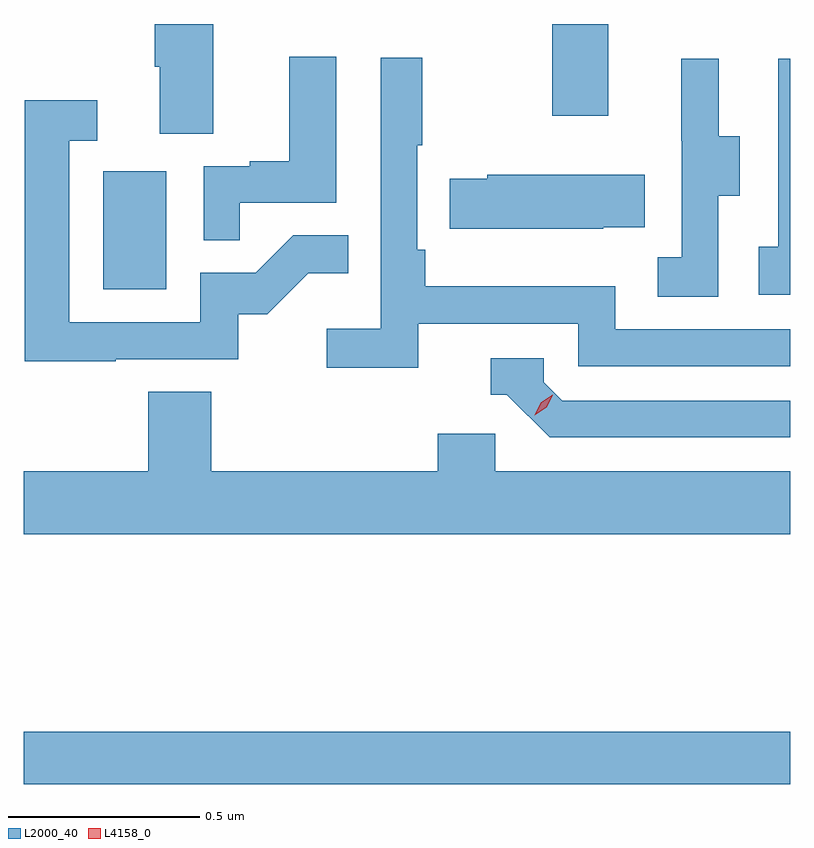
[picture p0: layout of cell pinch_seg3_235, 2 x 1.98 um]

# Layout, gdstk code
import gdstk
lib = gdstk.Library(unit=1e-6, precision=1e-09)
def R(c, l, rs):  # rectangles x0, y0, x1, y1
    for r in rs: c.add(gdstk.rectangle(r[:2], r[2:], *l))
def P(c, l, *ps):  # polygons
    for p in ps: c.add(gdstk.Polygon(p, *l))
L2000_40 = (2000, 40)
L4158_0 = (4158, 0)

pinch_seg3_235 = lib.new_cell('pinch_seg3_235')
R(pinch_seg3_235, L2000_40, [(921.911,745.552,923.911,745.688), (922.118,746.844,922.282,747.151), (923.29,747.297,923.437,747.536)])
P(pinch_seg3_235, L2000_40, [(922.405,747.536),(922.253,747.536),(922.253,747.424),(922.265,747.424),(922.265,747.25),(922.405,747.25)],
  [(922.475,747.069),(922.726,747.069),(922.726,747.451),(922.604,747.451),(922.604,747.178),(922.501,747.178),(922.501,747.165),(922.38,747.165),(922.38,746.971),(922.475,746.971)],
  [(922.94,746.754),(923.358,746.754),(923.358,746.643),(923.911,746.643),(923.911,746.739),(923.454,746.739),(923.454,746.851),(922.958,746.851),(922.958,746.947),(922.938,746.947),(922.938,747.22),(922.951,747.22),(922.951,747.448),(922.842,747.448),(922.842,746.74),(922.701,746.74),(922.701,746.638),(922.94,746.638)],
  [(923.911,747.445),(923.88,747.445),(923.88,746.954),(923.829,746.954),(923.829,746.829),(923.911,746.829)],
  [(923.724,747.088),(923.779,747.088),(923.779,747.243),(923.725,747.243),(923.725,747.445),(923.627,747.445),(923.627,747.231),(923.628,747.231),(923.628,746.927),(923.565,746.927),(923.565,746.824),(923.724,746.824)],
  [(922.151,746.661),(922.47,746.661),(922.47,746.778),(922.546,746.778),(922.653,746.885),(922.757,746.885),(922.757,746.984),(922.614,746.984),(922.516,746.886),(922.371,746.886),(922.371,746.757),(922.029,746.757),(922.029,747.231),(922.102,747.231),(922.102,747.337),(921.913,747.337),(921.913,746.656),(922.151,746.656)],
  [(923.423,747.005),(923.531,747.005),(923.531,747.142),(923.121,747.142),(923.121,747.132),(923.023,747.132),(923.023,747.002),(923.423,747.002)],
  [(923.911,746.553),(923.316,746.553),(923.268,746.601),(923.268,746.664),(923.129,746.664),(923.129,746.568),(923.172,746.568),(923.283,746.457),(923.911,746.457)],
  [(923.911,746.368),(923.142,746.368),(923.142,746.466),(922.991,746.466),(922.991,746.368),(922.4,746.368),(922.4,746.576),(922.235,746.576),(922.235,746.368),(921.911,746.368),(921.911,746.204),(923.911,746.204)])
P(pinch_seg3_235, L4158_0, [(923.244,746.515),(923.244,746.516),(923.261,746.548),(923.291,746.568),(923.292,746.568),(923.292,746.567),(923.276,746.535),(923.245,746.515)])

lib.write_gds('pinch_seg3_235.gds')
